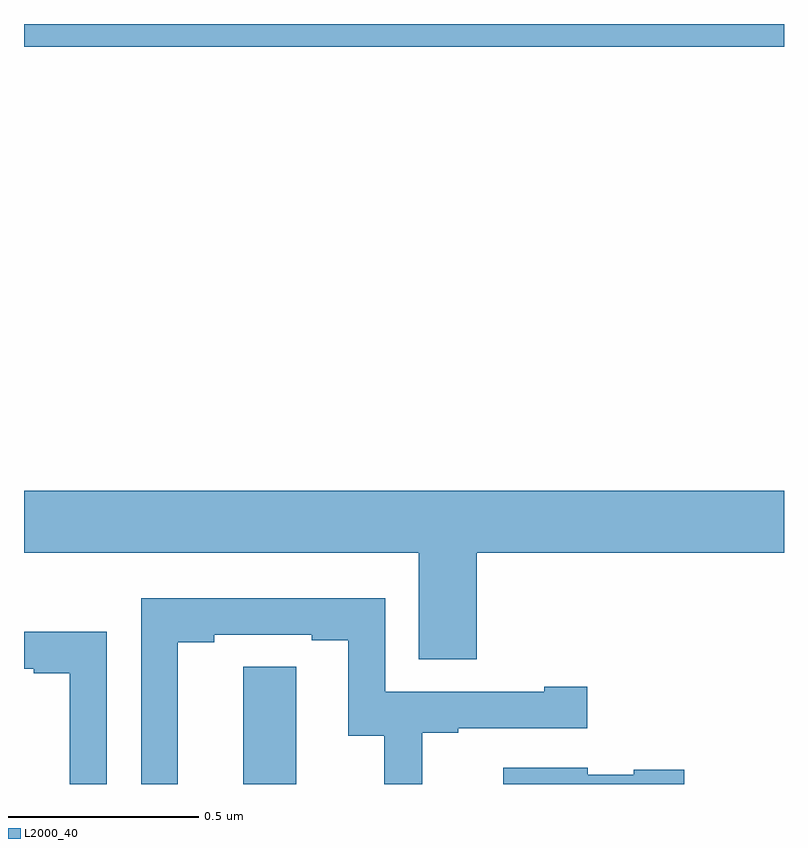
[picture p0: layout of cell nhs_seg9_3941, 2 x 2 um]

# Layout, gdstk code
import gdstk
lib = gdstk.Library(unit=1e-6, precision=1e-09)
def R(c, l, rs):  # rectangles x0, y0, x1, y1
    for r in rs: c.add(gdstk.rectangle(r[:2], r[2:], *l))
def P(c, l, *ps):  # polygons
    for p in ps: c.add(gdstk.Polygon(p, *l))
L2000_40 = (2000, 40)

nhs_seg9_3941 = lib.new_cell('nhs_seg9_3941')
R(nhs_seg9_3941, L2000_40, [(160,1176.44,162,1176.5)])
P(nhs_seg9_3941, L2000_40, [(161.192,1175.108),(162,1175.108),(162,1175.272),(160,1175.272),(160,1175.108),(161.039,1175.108),(161.039,1174.828),(161.192,1174.828)],
  [(160.405,1174.873),(160.501,1174.873),(160.501,1174.893),(160.757,1174.893),(160.757,1174.878),(160.853,1174.878),(160.853,1174.627),(160.948,1174.627),(160.948,1174.5),(161.048,1174.5),(161.048,1174.635),(161.143,1174.635),(161.143,1174.647),(161.482,1174.647),(161.482,1174.756),(161.369,1174.756),(161.369,1174.743),(160.95,1174.743),(160.95,1174.989),(160.308,1174.989),(160.308,1174.5),(160.405,1174.5)],
  [(160.218,1174.901),(160,1174.901),(160,1174.803),(160.025,1174.803),(160.025,1174.791),(160.121,1174.791),(160.121,1174.5),(160.218,1174.5)],
  [(160.717,1174.7),(160.716,1174.7),(160.716,1174.808),(160.577,1174.808),(160.577,1174.5),(160.717,1174.5)],
  [(161.737,1174.538),(161.604,1174.538),(161.604,1174.525),(161.484,1174.525),(161.484,1174.543),(161.261,1174.543),(161.261,1174.5),(161.737,1174.5)])

lib.write_gds('nhs_seg9_3941.gds')
